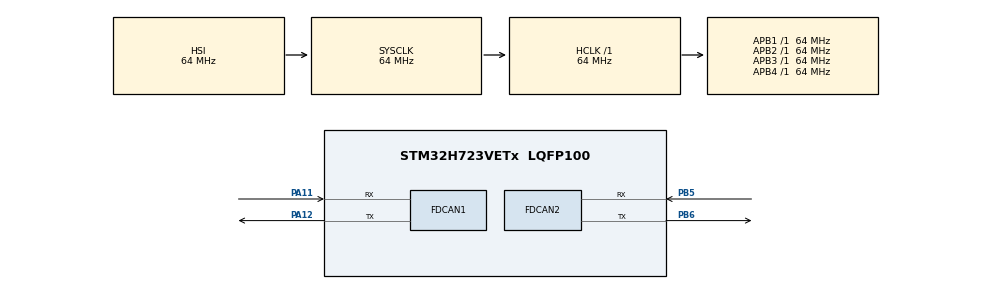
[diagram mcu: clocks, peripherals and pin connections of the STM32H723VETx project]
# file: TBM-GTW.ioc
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FDCAN1.AutoRetransmission=ENABLE
FDCAN1.CalculateBaudRateNominal=100000
FDCAN1.CalculateTimeBitNominal=10000
FDCAN1.CalculateTimeQuantumNominal=1000.0
FDCAN1.NominalPrescaler=48
FDCAN1.NominalTimeSeg1=7
FDCAN1.NominalTimeSeg2=2
FDCAN2.AutoRetransmission=ENABLE
FDCAN2.CalculateBaudRateNominal=100000
FDCAN2.CalculateTimeBitNominal=10000
FDCAN2.CalculateTimeQuantumNominal=1000.0
FDCAN2.NominalPrescaler=48
FDCAN2.NominalTimeSeg1=7
FDCAN2.NominalTimeSeg2=2
Mcu.Family=STM32H7
Mcu.Name=STM32H723VETx
Mcu.Package=LQFP100
NVIC.FDCAN2_IT0_IRQn=true\:0\:0\:false\:false\:true\:true\:true\:true
NVIC.FDCAN2_IT1_IRQn=true\:0\:0\:false\:false\:true\:true\:true\:true
NVIC.PriorityGroup=NVIC_PRIORITYGROUP_4
PA11.Mode=FDCAN_Activate
PA11.Signal=FDCAN1_RX
PA12.Mode=FDCAN_Activate
PA12.Signal=FDCAN1_TX
PB5.Mode=FDCAN_Activate
PB5.Signal=FDCAN2_RX
PB6.Mode=FDCAN_Activate
PB6.Signal=FDCAN2_TX
ProjectManager.HeapSize=0x200
ProjectManager.StackSize=0x400
ProjectManager.TargetToolchain=STM32CubeIDE
RCC.ADCFreq_Value=129000000
RCC.APB1Freq_Value=64000000
RCC.APB2Freq_Value=64000000
RCC.APB3Freq_Value=64000000
RCC.APB4Freq_Value=64000000
RCC.CortexFreq_Value=64000000
RCC.DIVM1=4
RCC.DIVN1=12
RCC.DIVQ1=4
RCC.HCLKFreq_Value=64000000
RCC.PLLFRACN=0
RCC.SYSCLKFreq_VALUE=64000000
RCC.USBFreq_Value=48000000
VP_MEMORYMAP_VS_MEMORYMAP.Mode=CurAppReg
board=custom

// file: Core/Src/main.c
g/* USER CODE BEGIN Header */
/**
  ******************************************************************************
  * @file           : main.c
  * @brief          : Main program body
  ******************************************************************************
  * @attention
  *
  * Copyright (c) 2025 STMicroelectronics.
  * All rights reserved.
  *
  * This software is licensed under terms that can be found in the LICENSE file
  * in the root directory of this software component.
  * If no LICENSE file comes with this software, it is provided AS-IS.
  *
  ******************************************************************************
  */
/* USER CODE END Header */
#include "main.h"

FDCAN_HandleTypeDef hfdcan1;
FDCAN_HandleTypeDef hfdcan2;

void SystemClock_Config(void);
static void MX_GPIO_Init(void);
static void MX_FDCAN1_Init(void);
static void MX_FDCAN2_Init(void);
/* USER CODE BEGIN PFP */
void GatewayTask(void);
/* USER CODE END PFP */

int main(void)
{

  /* MCU Configuration--------------------------------------------------------*/

  /* Reset of all peripherals, Initializes the Flash interface and the Systick. */
  HAL_Init();

  /* Configure the system clock */
  SystemClock_Config();

  /* Initialize all configured peripherals */
  MX_GPIO_Init();
  MX_FDCAN1_Init();
  MX_FDCAN2_Init();
  /* USER CODE BEGIN 2 */
  // Start CAN peripherals
  if (HAL_FDCAN_Start(&hfdcan1) != HAL_OK) Error_Handler();
  if (HAL_FDCAN_Start(&hfdcan2) != HAL_OK) Error_Handler();
  /* USER CODE END 2 */

  /* Infinite loop */
  while (1)
  {

    /* USER CODE BEGIN 3 */
	GatewayTask();   // our forwarding loop
  }
  /* USER CODE END 3 */
}

void SystemClock_Config(void)
{
  RCC_OscInitTypeDef RCC_OscInitStruct = {0};
  RCC_ClkInitTypeDef RCC_ClkInitStruct = {0};

  /** Supply configuration update enable
  */
  HAL_PWREx_ConfigSupply(PWR_LDO_SUPPLY);

  /** Configure the main internal regulator output voltage
  */
  __HAL_PWR_VOLTAGESCALING_CONFIG(PWR_REGULATOR_VOLTAGE_SCALE3);

  while(!__HAL_PWR_GET_FLAG(PWR_FLAG_VOSRDY)) {}

  /** Initializes the RCC Oscillators according to the specified parameters
  * in the RCC_OscInitTypeDef structure.
  */
  RCC_OscInitStruct.OscillatorType = RCC_OSCILLATORTYPE_HSI;
  RCC_OscInitStruct.HSIState = RCC_HSI_DIV1;
  RCC_OscInitStruct.HSICalibrationValue = 64;
  RCC_OscInitStruct.PLL.PLLState = RCC_PLL_ON;
  RCC_OscInitStruct.PLL.PLLSource = RCC_PLLSOURCE_HSI;
  RCC_OscInitStruct.PLL.PLLM = 4;
  RCC_OscInitStruct.PLL.PLLN = 12;
  RCC_OscInitStruct.PLL.PLLP = 2;
  RCC_OscInitStruct.PLL.PLLQ = 4;
  RCC_OscInitStruct.PLL.PLLR = 2;
  RCC_OscInitStruct.PLL.PLLRGE = RCC_PLL1VCIRANGE_3;
  RCC_OscInitStruct.PLL.PLLVCOSEL = RCC_PLL1VCOWIDE;
  RCC_OscInitStruct.PLL.PLLFRACN = 0;
  if (HAL_RCC_OscConfig(&RCC_OscInitStruct) != HAL_OK)
  {
    Error_Handler();
  }

  /** Initializes the CPU, AHB and APB buses clocks
  */
  RCC_ClkInitStruct.ClockType = RCC_CLOCKTYPE_HCLK|RCC_CLOCKTYPE_SYSCLK
                              |RCC_CLOCKTYPE_PCLK1|RCC_CLOCKTYPE_PCLK2
                              |RCC_CLOCKTYPE_D3PCLK1|RCC_CLOCKTYPE_D1PCLK1;
  RCC_ClkInitStruct.SYSCLKSource = RCC_SYSCLKSOURCE_HSI;
  RCC_ClkInitStruct.SYSCLKDivider = RCC_SYSCLK_DIV1;
  RCC_ClkInitStruct.AHBCLKDivider = RCC_HCLK_DIV1;
  RCC_ClkInitStruct.APB3CLKDivider = RCC_APB3_DIV1;
  RCC_ClkInitStruct.APB1CLKDivider = RCC_APB1_DIV1;
  RCC_ClkInitStruct.APB2CLKDivider = RCC_APB2_DIV1;
  RCC_ClkInitStruct.APB4CLKDivider = RCC_APB4_DIV1;

  if (HAL_RCC_ClockConfig(&RCC_ClkInitStruct, FLASH_LATENCY_1) != HAL_OK)
  {
    Error_Handler();
  }
}

static void MX_FDCAN1_Init(void)
{

  hfdcan1.Instance = FDCAN1;
  hfdcan1.Init.FrameFormat = FDCAN_FRAME_CLASSIC;
  hfdcan1.Init.Mode = FDCAN_MODE_NORMAL;
  hfdcan1.Init.AutoRetransmission = ENABLE;
  hfdcan1.Init.TransmitPause = DISABLE;
  hfdcan1.Init.ProtocolException = DISABLE;
  hfdcan1.Init.NominalPrescaler = 48;
  hfdcan1.Init.NominalSyncJumpWidth = 1;
  hfdcan1.Init.NominalTimeSeg1 = 7;
  hfdcan1.Init.NominalTimeSeg2 = 2;
  hfdcan1.Init.DataPrescaler = 1;
  hfdcan1.Init.DataSyncJumpWidth = 1;
  hfdcan1.Init.DataTimeSeg1 = 1;
  hfdcan1.Init.DataTimeSeg2 = 1;
  hfdcan1.Init.MessageRAMOffset = 0;
  hfdcan1.Init.StdFiltersNbr = 0;
  hfdcan1.Init.ExtFiltersNbr = 0;
  hfdcan1.Init.RxFifo0ElmtsNbr = 0;
  hfdcan1.Init.RxFifo0ElmtSize = FDCAN_DATA_BYTES_8;
  hfdcan1.Init.RxFifo1ElmtsNbr = 0;
  hfdcan1.Init.RxFifo1ElmtSize = FDCAN_DATA_BYTES_8;
  hfdcan1.Init.RxBuffersNbr = 0;
  hfdcan1.Init.RxBufferSize = FDCAN_DATA_BYTES_8;
  hfdcan1.Init.TxEventsNbr = 0;
  hfdcan1.Init.TxBuffersNbr = 0;
  hfdcan1.Init.TxFifoQueueElmtsNbr = 0;
  hfdcan1.Init.TxFifoQueueMode = FDCAN_TX_FIFO_OPERATION;
  hfdcan1.Init.TxElmtSize = FDCAN_DATA_BYTES_8;
  if (HAL_FDCAN_Init(&hfdcan1) != HAL_OK)
  {
    Error_Handler();
  }

}

static void MX_FDCAN2_Init(void)
{

  hfdcan2.Instance = FDCAN2;
  hfdcan2.Init.FrameFormat = FDCAN_FRAME_CLASSIC;
  hfdcan2.Init.Mode = FDCAN_MODE_NORMAL;
  hfdcan2.Init.AutoRetransmission = ENABLE;
  hfdcan2.Init.TransmitPause = DISABLE;
  hfdcan2.Init.ProtocolException = DISABLE;
  hfdcan2.Init.NominalPrescaler = 48;
  hfdcan2.Init.NominalSyncJumpWidth = 1;
  hfdcan2.Init.NominalTimeSeg1 = 7;
  hfdcan2.Init.NominalTimeSeg2 = 2;
  hfdcan2.Init.DataPrescaler = 1;
  hfdcan2.Init.DataSyncJumpWidth = 1;
  hfdcan2.Init.DataTimeSeg1 = 1;
  hfdcan2.Init.DataTimeSeg2 = 1;
  hfdcan2.Init.MessageRAMOffset = 0;
  hfdcan2.Init.StdFiltersNbr = 0;
  hfdcan2.Init.ExtFiltersNbr = 0;
  hfdcan2.Init.RxFifo0ElmtsNbr = 0;
  hfdcan2.Init.RxFifo0ElmtSize = FDCAN_DATA_BYTES_8;
  hfdcan2.Init.RxFifo1ElmtsNbr = 0;
  hfdcan2.Init.RxFifo1ElmtSize = FDCAN_DATA_BYTES_8;
  hfdcan2.Init.RxBuffersNbr = 0;
  hfdcan2.Init.RxBufferSize = FDCAN_DATA_BYTES_8;
  hfdcan2.Init.TxEventsNbr = 0;
  hfdcan2.Init.TxBuffersNbr = 0;
  hfdcan2.Init.TxFifoQueueElmtsNbr = 0;
  hfdcan2.Init.TxFifoQueueMode = FDCAN_TX_FIFO_OPERATION;
  hfdcan2.Init.TxElmtSize = FDCAN_DATA_BYTES_8;
  if (HAL_FDCAN_Init(&hfdcan2) != HAL_OK)
  {
    Error_Handler();
  }

}

static void MX_GPIO_Init(void)
{

  /* GPIO Ports Clock Enable */
  __HAL_RCC_GPIOA_CLK_ENABLE();
  __HAL_RCC_GPIOB_CLK_ENABLE();

}

/* USER CODE BEGIN 4 */
static void ForwardMessages(FDCAN_HandleTypeDef *hRx,
                            FDCAN_HandleTypeDef *hTx)
{
    FDCAN_RxHeaderTypeDef rxHeader;
    FDCAN_TxHeaderTypeDef txHeader;
    uint8_t data[8];

    // Drain all messages currently in RX FIFO0
    while (HAL_FDCAN_GetRxFifoFillLevel(hRx, FDCAN_RX_FIFO0) > 0)
    {
        if (HAL_FDCAN_GetRxMessage(hRx, FDCAN_RX_FIFO0, &rxHeader, data) != HAL_OK)
            return; // or handle error

        // Build TX header – copy most fields across
        txHeader.Identifier          = rxHeader.Identifier;
        txHeader.IdType              = rxHeader.IdType;
        txHeader.TxFrameType         = FDCAN_DATA_FRAME;
        txHeader.DataLength          = rxHeader.DataLength;
        txHeader.ErrorStateIndicator = FDCAN_ESI_ACTIVE;
        txHeader.BitRateSwitch       = FDCAN_BRS_OFF;
        txHeader.FDFormat            = FDCAN_CLASSIC_CAN;
        txHeader.TxEventFifoControl  = FDCAN_NO_TX_EVENTS;
        txHeader.MessageMarker       = 0;

        // Forward to other bus
        HAL_FDCAN_AddMessageToTxFifoQ(hTx, &txHeader, data);
    }
}

void GatewayTask(void)
{
    // CAN1 -> CAN2
    ForwardMessages(&hfdcan1, &hfdcan2);

    // CAN2 -> CAN1
    ForwardMessages(&hfdcan2, &hfdcan1);
}
/* USER CODE END 4 */

void Error_Handler(void)
{
  __disable_irq();
  while (1)
  {
  }
}
